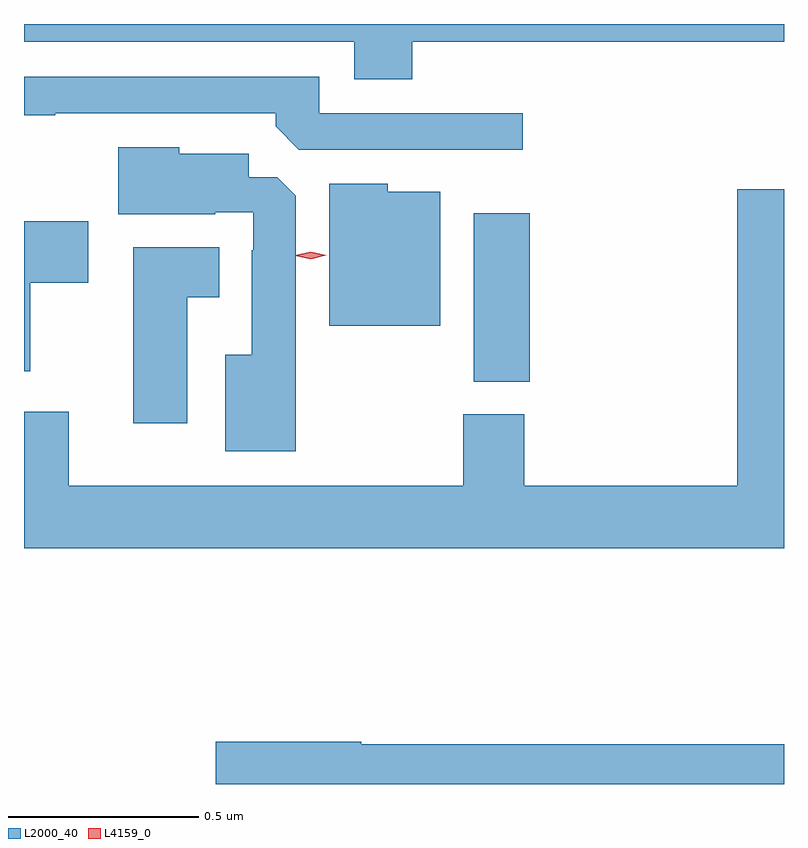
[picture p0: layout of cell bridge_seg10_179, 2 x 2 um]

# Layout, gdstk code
import gdstk
lib = gdstk.Library(unit=1e-6, precision=1e-09)
def R(c, l, rs):  # rectangles x0, y0, x1, y1
    for r in rs: c.add(gdstk.rectangle(r[:2], r[2:], *l))
def P(c, l, *ps):  # polygons
    for p in ps: c.add(gdstk.Polygon(p, *l))
L2000_40 = (2000, 40)
L4159_0 = (4159, 0)

bridge_seg10_179 = lib.new_cell('bridge_seg10_179')
R(bridge_seg10_179, L2000_40, [(190.88,1276.777,191.027,1277.221)])
P(bridge_seg10_179, L2000_40, [(190.718,1277.672),(191.696,1277.672),(191.696,1277.719),(189.696,1277.719),(189.696,1277.672),(190.565,1277.672),(190.565,1277.573),(190.718,1277.573)],
  [(191.008,1277.484),(190.473,1277.484),(190.473,1277.58),(189.696,1277.58),(189.696,1277.479),(189.778,1277.479),(189.778,1277.484),(190.358,1277.484),(190.358,1277.45),(190.419,1277.388),(191.008,1277.388)],
  [(190.411,1277.267),(190.362,1277.316),(190.288,1277.316),(190.288,1277.377),(190.104,1277.377),(190.104,1277.395),(189.944,1277.395),(189.944,1277.219),(190.199,1277.219),(190.199,1277.223),(190.299,1277.223),(190.299,1277.123),(190.295,1277.123),(190.295,1276.849),(190.226,1276.849),(190.226,1276.595),(190.411,1276.595)],
  [(190.792,1277.278),(190.653,1277.278),(190.653,1277.299),(190.499,1277.299),(190.499,1276.925),(190.792,1276.925)],
  [(191.696,1277.284),(191.573,1277.284),(191.573,1276.504),(191.012,1276.504),(191.012,1276.692),(190.852,1276.692),(190.852,1276.504),(189.814,1276.504),(189.814,1276.699),(189.696,1276.699),(189.696,1276.34),(191.696,1276.34)],
  [(189.712,1277.038),(189.865,1277.038),(189.865,1277.2),(189.696,1277.2),(189.696,1276.805),(189.712,1276.805)],
  [(190.126,1277),(190.21,1277),(190.21,1277.131),(189.983,1277.131),(189.983,1276.668),(190.126,1276.668)],
  [(191.696,1275.824),(190.584,1275.824),(190.584,1275.83),(190.2,1275.83),(190.2,1275.719),(191.696,1275.719)])
P(bridge_seg10_179, L4159_0, [(190.451,1277.1),(190.41,1277.109),(190.41,1277.109),(190.41,1277.11),(190.451,1277.12),(190.492,1277.111),(190.492,1277.111),(190.492,1277.11)])

lib.write_gds('bridge_seg10_179.gds')
